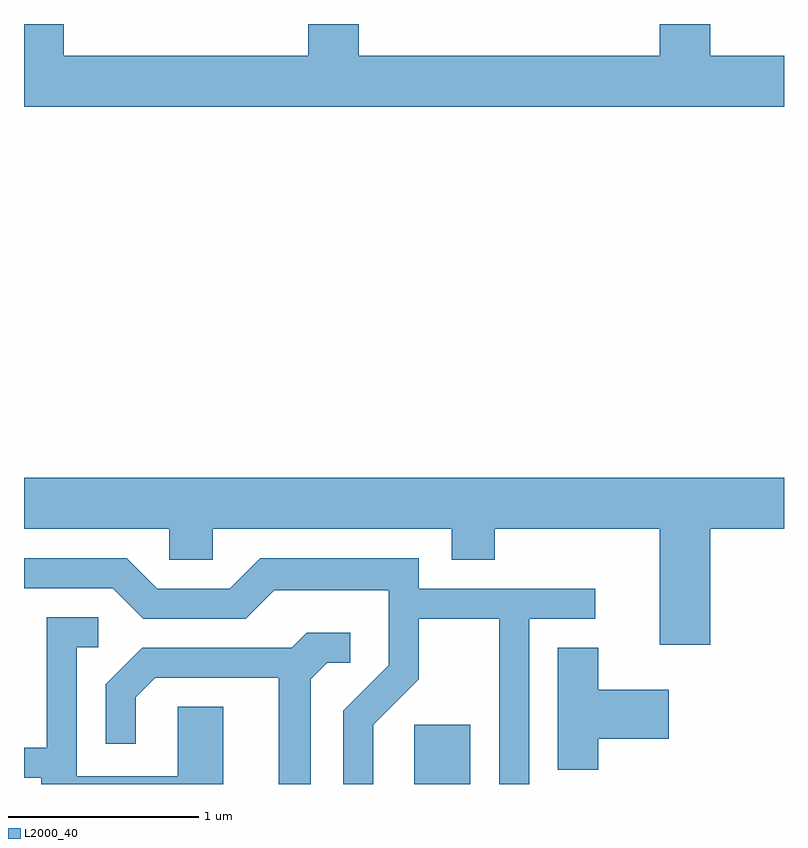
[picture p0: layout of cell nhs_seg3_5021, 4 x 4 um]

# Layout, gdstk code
import gdstk
lib = gdstk.Library(unit=1e-6, precision=1e-09)
def R(c, l, rs):  # rectangles x0, y0, x1, y1
    for r in rs: c.add(gdstk.rectangle(r[:2], r[2:], *l))
def P(c, l, *ps):  # polygons
    for p in ps: c.add(gdstk.Polygon(p, *l))
L2000_40 = (2000, 40)

nhs_seg3_5021 = lib.new_cell('nhs_seg3_5021')
R(nhs_seg3_5021, L2000_40, [(333.666,1237.892,333.959,1238.204)])
P(nhs_seg3_5021, L2000_40, [(335.611,1241.724),(335.224,1241.724),(335.224,1241.892),(334.956,1241.892),(334.956,1241.724),(333.374,1241.724),(333.374,1241.892),(333.106,1241.892),(333.106,1241.724),(331.819,1241.724),(331.819,1241.892),(331.611,1241.892),(331.611,1241.456),(335.611,1241.456)],
  [(335.224,1239.236),(335.611,1239.236),(335.611,1239.504),(331.611,1239.504),(331.611,1239.236),(332.376,1239.236),(332.376,1239.071),(332.604,1239.071),(332.604,1239.236),(333.861,1239.236),(333.861,1239.071),(334.089,1239.071),(334.089,1239.236),(334.956,1239.236),(334.956,1238.626),(335.224,1238.626)],
  [(333.449,1238.204),(333.689,1238.444),(333.689,1238.761),(334.111,1238.761),(334.111,1237.892),(334.269,1237.892),(334.269,1238.761),(334.618,1238.761),(334.618,1238.919),(333.689,1238.919),(333.689,1239.079),(332.854,1239.079),(332.694,1238.919),(332.312,1238.919),(332.152,1239.079),(331.611,1239.079),(331.611,1238.921),(332.079,1238.921),(332.239,1238.761),(332.777,1238.761),(332.927,1238.911),(333.531,1238.911),(333.531,1238.517),(333.291,1238.277),(333.291,1237.892),(333.449,1237.892)],
  [(332.659,1238.299),(332.421,1238.299),(332.421,1237.934),(331.889,1237.934),(331.889,1238.611),(332.003,1238.611),(332.003,1238.769),(331.731,1238.769),(331.731,1238.084),(331.611,1238.084),(331.611,1237.926),(331.701,1237.926),(331.701,1237.892),(332.659,1237.892)],
  [(333.119,1238.444),(333.207,1238.531),(333.328,1238.531),(333.328,1238.689),(333.099,1238.689),(333.019,1238.609),(332.234,1238.609),(332.041,1238.417),(332.041,1238.103),(332.199,1238.103),(332.199,1238.349),(332.302,1238.451),(332.951,1238.451),(332.951,1237.892),(333.119,1237.892)],
  [(334.634,1238.131),(335.004,1238.131),(335.004,1238.389),(334.634,1238.389),(334.634,1238.609),(334.421,1238.609),(334.421,1237.966),(334.634,1237.966)])

lib.write_gds('nhs_seg3_5021.gds')
